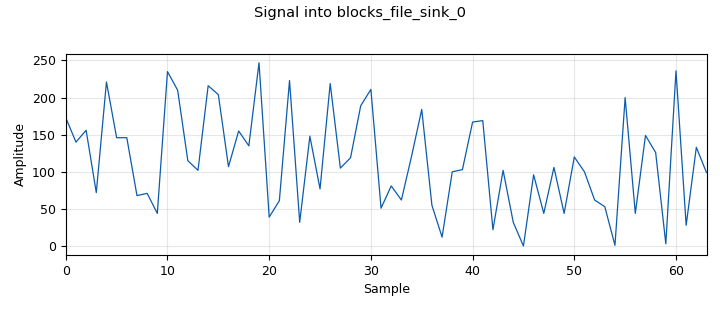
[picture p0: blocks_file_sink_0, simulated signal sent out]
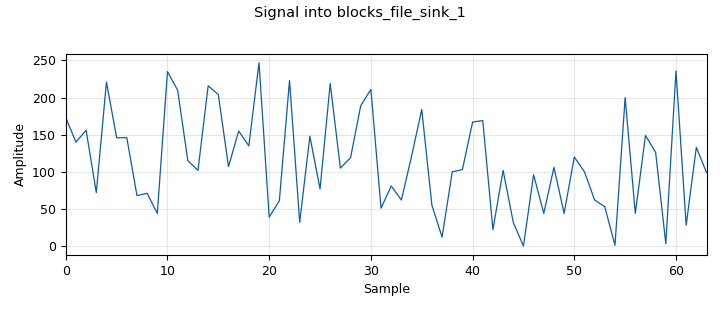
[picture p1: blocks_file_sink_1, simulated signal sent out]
options:
  parameters:
    generate_options: no_gui
    id: alpha_stable_generator
    output_language: python
    run_options: run
    title: Alpha stable simulation
  states: {}

blocks:
- name: alpha_map
  id: variable
  parameters:
    value: '[float(x) for x in alpha_map_str.split(",")]'
  states: {}
- name: beta_map
  id: variable
  parameters:
    value: '[float(x) for x in beta_map_str.split(",")]'
  states: {}
- name: gama_map
  id: variable
  parameters:
    value: '[float(x) for x in gama_map_str.split(",")]'
  states: {}
- name: samp_rate
  id: variable
  parameters:
    value: '32000'
  states: {}
- name: L
  id: parameter
  parameters:
    type: intx
    value: '2'
  states: {}
- name: alpha_map_str
  id: parameter
  parameters:
    type: str
    value: '"1.0"'
  states: {}
- name: analog_noise_source_x_0
  id: analog_noise_source_x
  parameters:
    amp: noise_ratio
    noise_type: analog.GR_GAUSSIAN
    seed: '0'
    type: float
  states: {}
- name: analog_random_source_x_0
  id: analog_random_source_x
  parameters:
    max: '255'
    min: '0'
    num_samps: source_number_of_samples
    repeat: 'False'
    type: byte
  states: {}
- name: beta_map_str
  id: parameter
  parameters:
    type: str
    value: '"-1.0,1.0"'
  states: {}
- name: blocks_add_xx_0
  id: blocks_add_xx
  parameters:
    type: float
  states: {}
- name: blocks_file_sink_0
  id: blocks_file_sink
  parameters:
    file: source_file
    type: byte
  states: {}
- name: blocks_file_sink_1
  id: blocks_file_sink
  parameters:
    file: decoded_file
    type: byte
  states: {}
- name: blocks_file_sink_2
  id: blocks_file_sink
  parameters:
    file: encoded_file
    type: float
  states: {}
- name: blocks_head_0
  id: blocks_head
  parameters:
    num_items: source_number_of_samples
    type: byte
  states: {}
- name: blocks_head_1
  id: blocks_head
  parameters:
    num_items: source_number_of_samples*8*samples_per_symbol
    type: float
  states: {}
- name: decoded_file
  id: parameter
  parameters:
    type: str
    value: r"C:\Users\ANEDCD~1\Desktop\3.letnik\Diploma\simulations\decoded.bin"
  states: {}
- name: encoded_file
  id: parameter
  parameters:
    type: str
    value: r"C:\Users\ANEDCD~1\Desktop\3.letnik\Diploma\simulations\encoded.bin"
  states: {}
- name: eos_timeout
  id: parameter
  parameters:
    label: EOS_timeout
    type: eng_float
    value: '3.0'
  states: {}
- name: epy_block_0
  id: epy_block
  parameters:
    _source_code: |-
      """
      GNU Radio Embedded Python Block: alpha_encoder

      Kodira vhodne bajte v serijo vzorcev alfa-stabilne porazdelitve.
      """

      import numpy as np
      from gnuradio import gr
      import sys
      import time  # fallback-only now, see comments below



      class alpha_encoder(gr.basic_block):
          """Kodira bajte v serijo vzorcev alfa-stabilne porazdelitve."""

          def __init__(
              self, 
              alpha_map=[1.2, 1.4, 1.6, 1.8], 
              beta_map=[-1.0, 1.0],
              gama_map=[1.0],
              samples_per_symbol=500,
              encode_alpha=False,
              encode_beta=True,
              encode_gama=False,
              eos_timeout=2.0,
              expected_input_bytes=None,
          ):
              gr.basic_block.__init__(
                  self,
                  name="alpha_encoder",
                  in_sig=[np.uint8],
                  out_sig=[np.float32],
              )

              self.alpha_map = list(alpha_map)
              self.beta_map = list(beta_map)
              self.gama_map = list(gama_map)
              self.samples_per_symbol = int(samples_per_symbol)
              self.encode_alpha = bool(encode_alpha)
              self.encode_beta = bool(encode_beta)
              self.encode_gama = bool(encode_gama)

              self._bit_buffer = [] #mogoče vržemo potem ven
              #ta buffer bo ostal ker ima ful smisla da ostane boj input če ga preberem morem prebrat cel byte, če ne shranim moji padatki izginejo to je najbolj simple način kako se tega rešiti

              self._eos_reached = False #zato da lahko se samo ustavi
              self._ever_received_input = False #če tega ni bi lahko scheduler klical general_work preden dobi karkoli in konča predčasno

              # Fallback-only timing state (kept in case expected_input_bytes is not provided)
              self.eos_timeout = float(eos_timeout)
              self._last_input_time = None

              # NEW: deterministic byte-count tracking (this is the real fix)
              self.expected_input_bytes = (
                  int(expected_input_bytes) if expected_input_bytes is not None else None
              )
              self._total_bytes_seen = 0  # running total of bytes consumed so far this run

              if self.samples_per_symbol <= 0:
                  raise ValueError("samples_per_symbol must be pozitive number")
              if self.encode_alpha and not self.is_power_of_two(len(self.alpha_map)):
                  raise ValueError("The size of alpha_map must be 2^n")
              if self.encode_beta and not self.is_power_of_two(len(self.beta_map)):
                  raise ValueError("The size of beta_map must be 2^n")
              if self.encode_gama and not self.is_power_of_two(len(self.gama_map)):
                  raise ValueError("The size of gama_map must be 2^n")

              self.bits_alpha = self.log2_za_potence2(len(self.alpha_map)) if self.encode_alpha else 0
              self.bits_beta  = self.log2_za_potence2(len(self.beta_map))  if self.encode_beta  else 0
              self.bits_gama  = self.log2_za_potence2(len(self.gama_map))  if self.encode_gama  else 0
              self.bits_per_symbol = self.bits_alpha + self.bits_beta + self.bits_gama # log(map_size) nam pove koliko bitov lahko predstavimo z vsakim parametrom, če to seštejemo imamo število bitov glede na semple

              if self.bits_per_symbol <= 0:
                  raise ValueError("At least one of encode_alpha, encode_beta, encode_gama nust be True")

          def forecast(self, noutput_items, ninputs):
              return [0] * int(ninputs)

          @staticmethod
          def is_power_of_two(x):
              return x > 0 and (x & (x - 1)) == 0

          @staticmethod
          def log2_za_potence2(x):
              if x == 0:
                  return 0
              if alpha_encoder.is_power_of_two(x):
                  vrednost = 0
                  while x > 1:
                      x >>= 1
                      vrednost += 1
                  return vrednost
              raise ValueError("One of the mups is not the size of 2^n (something went wrong, this mesage should not be reachable)")

          @staticmethod
          def alpha_stable(size, alpha=1.1, beta=0.0, gama=1.0): #default walues that should be the best, encoding
              v_values = np.random.uniform(-np.pi / 2, np.pi / 2, size)
              w_values = np.random.exponential(1, size)

              constant = beta * np.tan(np.pi * alpha / 2)
              shift = np.arctan(constant)
              scale = (1 + constant ** 2) ** (1 / (2 * alpha))

              samples = (
                  scale
                  * np.sin(alpha * v_values + shift)
                  / (np.cos(v_values)) ** (1 / alpha)
                  * (np.cos((1 - alpha) * v_values - shift) / w_values) ** ((1 - alpha) / alpha)
              )
              return gama * samples

          @staticmethod
          def _read_bits(bit_buffer, start, count):
              #Kadar enkodiram za en simbol morem vedet kolko bitov lahko ta simbol enkoda (count parameter)
              #pazi ker vrne niz kjer je prvi prebran bit least significant, torej obrne (načeloma je vseeno samo rabiš upoštevat pri kodiranju da daš tud obrnt mapo)
              value = 0
              for index in range(count):
                  value |= (bit_buffer[start + index] << index)
              return value

          #iz inputa preberi vse BYTE in vrni v bit_buffer 
          def _append_input_bits(self, input_bytes):
              for byte in input_bytes:
                  byte_value = int(byte)
                  for bit_index in range(8):
                      self._bit_buffer.append((byte_value >> bit_index) & 1) #dubi samo zadnji bit zato &1  uno pa premakne na pravo mesto binary shift ku v c++

          def _encode_one_symbol(self, bit_offset):
              alpha = 1.1
              beta = 0.0
              gama = self.gama_map[0]
              offset = bit_offset

              if self.encode_alpha:
                  alpha_index = self._read_bits(self._bit_buffer, offset, self.bits_alpha)
                  alpha = self.alpha_map[alpha_index]
                  offset += self.bits_alpha

              if self.encode_beta:
                  beta_index = self._read_bits(self._bit_buffer, offset, self.bits_beta)
                  beta = self.beta_map[beta_index]
                  offset += self.bits_beta

              if self.encode_gama:
                  gama_index = self._read_bits(self._bit_buffer, offset, self.bits_gama)
                  gama = self.gama_map[gama_index]
                  offset += self.bits_gama

              return alpha, beta, gama

          def general_work(self, input_items, output_items):
              input_bytes = input_items[0]
              output_samples = output_items[0]

              '''
              if not hasattr(self, '_dbg_call'):
                  self._dbg_call = 0
              self._dbg_call += 1 # da vem kolkokrat pokličem ta blok general_work
              c = self._dbg_call
              print(f"[ENC #{c}] id={id(self)} in={len(input_bytes)} out_buf={len(output_samples)} bit_buf={len(self._bit_buffer)} eos={self._eos_reached} ever={self._ever_received_input} seen={self._total_bytes_seen}/{self.expected_input_bytes}", file=sys.stderr, flush=True) 
              ''' #debuging

              if len(input_bytes) > 0:
                  self._ever_received_input = True
                  self._eos_reached = False
                  self._last_input_time = time.time()  # fallback bookkeeping only
                  self._total_bytes_seen += len(input_bytes)  # NEW: exact running count
                  self._append_input_bits(input_bytes) #direktno preberi dol iz inputa za delo naprej
                  self.consume(0, len(input_bytes)) # to je za GNU radio da mu povem kolko podatkov sem pobral dol z vhoda, v tem klicu general work ostaja input_samples enak stream se ne nadaljuje po tem ko sem v tem bloku to je pomembno ker drugače ne bi smel delati tako

                  if (
                      self.expected_input_bytes is not None
                      and self._total_bytes_seen >= self.expected_input_bytes
                  ):
                      self._eos_reached = True

              elif self._ever_received_input:
                  if (time.time() - self._last_input_time) >= self.eos_timeout:
                      self._eos_reached = True
              else:
                  # Če nikoli še nisem dubu podatkov samo loopi dokler jih ne dobim
                  return 0
              
              if self._eos_reached and 0 < len(self._bit_buffer) < self.bits_per_symbol:
                  # Zadnji delni simbol dopolnimo z ničlami, da ga še lahko zakodiramo, drugače lahko imamo v bit_bufferju ostanek če vhod ni deljiv z bits_per_symbol
                  self._bit_buffer.extend([0] * (self.bits_per_symbol - len(self._bit_buffer)))
              
              # Encode as many symbols as we can fit in the output buffer
              max_symbols = len(output_samples) // self.samples_per_symbol #buffer ima v GNU radio omejeno velikost za output smiselno sicer ampak jaz bi šopal rad podatke čez
              produced_symbols = 0
              bit_offset = 0

              while (
                  produced_symbols < max_symbols #če gremo čez bomo pisali v prazno in zgubili podatke, ne prekoračit bufferja
                  and len(self._bit_buffer) - bit_offset >= self.bits_per_symbol #v bit_bufferju rabim zadosti simbolov da encodam celotno 
              ):
                  alpha, beta, gama = self._encode_one_symbol(bit_offset)
                  samples = self.alpha_stable(
                      self.samples_per_symbol, alpha=alpha, beta=beta, gama=gama
                  ).astype(np.float32)

                  start = produced_symbols * self.samples_per_symbol
                  end = start + self.samples_per_symbol
                  output_samples[start:end] = samples

                  produced_symbols += 1
                  bit_offset += self.bits_per_symbol

              if bit_offset > 0:
                  self._bit_buffer = self._bit_buffer[bit_offset:] #zamakni seznam vrži stran vse kar sem že predelal

              #print(f"[ENC #{c}] produced={produced_symbols} samples={produced_symbols*self.samples_per_symbol} bit_buf_after={len(self._bit_buffer)}", file=sys.stderr, flush=True)

              if produced_symbols > 0:
                  return produced_symbols * self.samples_per_symbol

              if self._eos_reached and len(self._bit_buffer) < self.bits_per_symbol:
                  #print(f"[ENC #{c}] WORK_DONE", file=sys.stderr, flush=True)
                  return gr.WORK_DONE #to je GNU radio način da pove da je blok končal delo

              return 0
    alpha_map: alpha_map
    beta_map: beta_map
    encode_alpha: 'False'
    encode_beta: 'True'
    encode_gama: 'False'
    eos_timeout: eos_timeout
    expected_input_bytes: source_number_of_samples
    gama_map: gama_map
    samples_per_symbol: samples_per_symbol
  states: {}
- name: epy_block_1
  id: epy_block
  parameters:
    L: L
    _source_code: |-
      """
      GNU Radio Embedded Python Block: alpha_decoder

      Dekodira vzorce alfa-stabilne porazdelitve nazaj v bajte.
      """

      import numpy as np
      from gnuradio import gr
      import sys
      import time

      class alpha_decoder(gr.basic_block):
          """Dekodira vzorce alfa-stabilne porazdelitve v bajte."""

          def __init__(
              self,
              alpha_map=[1.2, 1.4, 1.6, 1.8],
              beta_map=[-1.0, 1.0],
              gama_map=[1.0],
              samples_per_symbol=500,
              L=10,
              encode_alpha=False,
              encode_beta=True,
              encode_gama=False,
              eos_timeout=3.0,
              expected_input_samples=None,
          ):
              gr.basic_block.__init__(
                  self,
                  name="alpha_decoder",
                  in_sig=[np.float32],
                  out_sig=[np.uint8],
              )

              self.alpha_map = list(alpha_map)
              self.beta_map = list(beta_map)
              self.gama_map = list(gama_map)
              self.samples_per_symbol = int(samples_per_symbol)
              self.L = int(L)
              self.encode_alpha = bool(encode_alpha)
              self.encode_beta = bool(encode_beta)
              self.encode_gama = bool(encode_gama)

              self._sample_buffer = np.empty(0, dtype=np.float32)
              self._decoded_bit_buffer = []
              self._eos_reached = False
              self._ever_received_input = False #potrebno da vem kdaj startam stevec oziroma da ne konča predn dobi delo

              # Fallback-only timing state
              self.eos_timeout = float(eos_timeout)
              self._last_input_time = None

              # NEW: deterministic sample-count tracking (this is the real fix)
              self.expected_input_samples = (
                  int(expected_input_samples) if expected_input_samples is not None else None
              )
              self._total_samples_seen = 0  # running total of input samples consumed this run

              if self.samples_per_symbol <= 0:
                  raise ValueError("samples_per_symbol must be pozitive number")
              if self.L <= 0:
                  raise ValueError("L must be pozitive number")
              if self.samples_per_symbol % self.L != 0:
                  raise ValueError("samples_per_symbol must be devisible by L")

              if self.encode_alpha and not self.is_power_of_two(len(self.alpha_map)):
                  raise ValueError("Size of alpha_map bust be 2^n")
              if self.encode_beta and not self.is_power_of_two(len(self.beta_map)):
                  raise ValueError("Size of beta_map bust be 2^n")
              if self.encode_gama and not self.is_power_of_two(len(self.gama_map)):
                  raise ValueError("Size of gama_map bust be 2^n")

              self.bits_alpha = self.log2_za_potence2(len(self.alpha_map)) if self.encode_alpha else 0
              self.bits_beta  = self.log2_za_potence2(len(self.beta_map))  if self.encode_beta  else 0
              self.bits_gama  = self.log2_za_potence2(len(self.gama_map))  if self.encode_gama  else 0
              self.bits_per_symbol = self.bits_alpha + self.bits_beta + self.bits_gama

              if self.bits_per_symbol <= 0:
                  raise ValueError("At least one encode alpha, beta or gama must be True")

              if self.encode_alpha or self.encode_gama:
                  raise ValueError(
                      "Dekoder supports only encode_beta=True, encode_alpha=False, encode_gama=False now"
                  )

          def forecast(self, noutput_items, ninputs):
              return [0] * int(ninputs)

          @staticmethod
          def is_power_of_two(x):
              return x > 0 and (x & (x - 1)) == 0

          @staticmethod
          def log2_za_potence2(x):
              if x == 0:
                  return 0
              if alpha_decoder.is_power_of_two(x):
                  vrednost = 0
                  while x > 1:
                      x >>= 1
                      vrednost += 1
                  return vrednost
              raise ValueError("Ena od map ni velikosti 2^n")

          #najbližji indeks po naši metodi
          @staticmethod
          def closest_index(value, values):
              arr = np.array(values, dtype=float)
              if arr.size == 1:
                  return 0
              return int(np.argmin(np.abs(arr - value)))

          def estimate_beta(self, symbol_samples):
              samples_per_segment = self.samples_per_symbol // self.L
              if samples_per_segment <= 0:
                  return 0.0

              symbol_array = np.asarray(symbol_samples, dtype=np.float64)
              segments = symbol_array[: samples_per_segment * self.L].reshape(
                  self.L, samples_per_segment
              )

              maximums = np.max(segments, axis=1)
              minimum_magnitudes = -np.min(segments, axis=1)
              valid = (
                  np.isfinite(maximums)
                  & np.isfinite(minimum_magnitudes)
                  & (maximums > 0.0)
                  & (minimum_magnitudes > 0.0)
              )
              if np.count_nonzero(valid) < 2:
                  return 0.0

              y_max = np.log(maximums[valid])
              y_min = np.log(minimum_magnitudes[valid])
              mean_max = float(np.mean(y_max))
              mean_min = float(np.mean(y_min))
              std_max = float(np.std(y_max, ddof=1))
              std_min = float(np.std(y_min, ddof=1))
              if (
                  not np.all(np.isfinite([mean_max, mean_min, std_max, std_min]))
                  or std_max <= 1e-12
                  or std_min <= 1e-12
              ):
                  return 0.0

              alpha_hat = np.pi / (2.0 * np.sqrt(6.0)) * (
                  1.0 / std_max + 1.0 / std_min
              )
              log_tail_ratio = alpha_hat * (mean_max - mean_min)
              beta_hat = np.tanh(0.5 * log_tail_ratio)
              return float(np.clip(beta_hat, -1.0, 1.0))

          def _append_input_samples(self, input_samples):
              if input_samples.size:
                  self._sample_buffer = np.concatenate(
                      (self._sample_buffer, input_samples.astype(np.float32, copy=False))
                  )

          def _flush_bits_to_output(self, out, out_index):
              available_bytes = len(self._decoded_bit_buffer) // 8
              bytes_to_write = min(len(out) - out_index, available_bytes) #znova da ne prepišemo slučajno out bufferja 

              for byte_index in range(bytes_to_write):
                  base = byte_index * 8
                  byte_value = 0
                  for bit_index in range(8):
                      byte_value |= (self._decoded_bit_buffer[base + bit_index] & 0x1) << bit_index
                  out[out_index + byte_index] = byte_value

              if bytes_to_write > 0:
                  self._decoded_bit_buffer = self._decoded_bit_buffer[bytes_to_write * 8:]

              return bytes_to_write

          def general_work(self, input_items, output_items):
              in_samples = input_items[0]
              out = output_items[0]
              '''
              if not hasattr(self, '_dbg_call'):
                  self._dbg_call = 0
              self._dbg_call += 1
              c = self._dbg_call
              '''
              if len(out) == 0:
                  return 0

              #print(f"[DEC #{c}] id={id(self)} in={len(in_samples)} out_buf={len(out)} sample_buf={len(self._sample_buffer)} bit_buf={len(self._decoded_bit_buffer)} eos={self._eos_reached} ever={self._ever_received_input} seen={self._total_samples_seen}/{self.expected_input_samples}", file=sys.stderr, flush=True)
              #isto kot v alpha_encoder rabimo nek način da ne končamo prehitro
              if len(in_samples) > 0:
                  self._ever_received_input = True
                  self._eos_reached = False
                  self._last_input_time = time.time()  # fallback bookkeeping only
                  self._total_samples_seen += len(in_samples)  # NEW: exact running count
                  self._append_input_samples(in_samples)
                  self.consume(0, len(in_samples))

                  if (
                      self.expected_input_samples is not None
                      and self._total_samples_seen >= self.expected_input_samples
                  ):
                      self._eos_reached = True

              elif self._ever_received_input:
                  if (time.time() - self._last_input_time) >= self.eos_timeout:
                      self._eos_reached = True
              else:
                  # Če ni še nič podatkov prišlo
                  return 0

              out_index = 0
              beta_mask = (1 << self.bits_beta) - 1 if self.bits_beta > 0 else 0 #safety net bolj kot kaj drugega pomojem ne rabim samo tko za sigurn

              # Vrži vn kar smo že dekodali
              out_index += self._flush_bits_to_output(out, out_index)
              #če stem zapolneš že cel out_index moreš končati saj len(out) ne smemo prekoračiti ka zgubiš podatke ker prepišeš čez buffer
              if out_index == len(out):
                  return out_index

              # Dekodiramo novo
              available_symbols = len(self._sample_buffer) // self.samples_per_symbol

              for symbol_index in range(available_symbols):
                  symbol_start = symbol_index * self.samples_per_symbol
                  symbol_end = symbol_start + self.samples_per_symbol
                  symbol_samples = self._sample_buffer[symbol_start:symbol_end]

                  estimated_beta = self.estimate_beta(symbol_samples)
                  beta_idx = (
                      self.closest_index(estimated_beta, self.beta_map) & beta_mask
                      if self.bits_beta > 0 #ta if je odveč se strinjam je tle samo zaradi logike če implementiram alpha + je dober dodaten check
                      else 0
                  )

                  for _ in range(self.bits_alpha):
                      self._decoded_bit_buffer.append(0)
                  for bit_index in range(self.bits_beta):
                      self._decoded_bit_buffer.append((beta_idx >> bit_index) & 0x1)
                  for _ in range(self.bits_gama):
                      self._decoded_bit_buffer.append(0)

              # Zbriši kar smo poslali oziroma sprocesirali
              consumed_samples = available_symbols * self.samples_per_symbol
              self._sample_buffer = self._sample_buffer[consumed_samples:]

              # Izpiši na output sprocesirano
              out_index += self._flush_bits_to_output(out, out_index)

              if out_index > 0:
                  return out_index

              if self._eos_reached:
                  samples_remain = len(self._sample_buffer) >= self.samples_per_symbol
                  #print(f"[DEC #{c}] eos confirmed, samples_remain={samples_remain} bit_buf={len(self._decoded_bit_buffer)}", file=sys.stderr, flush=True)
                  bits_remain = len(self._decoded_bit_buffer) >= 8
                  if not samples_remain and not bits_remain:
                      return gr.WORK_DONE

              return 0
    alpha_map: alpha_map
    beta_map: beta_map
    encode_alpha: 'False'
    encode_beta: 'True'
    encode_gama: 'False'
    eos_timeout: eos_timeout
    expected_input_samples: source_number_of_samples*8*samples_per_symbol
    gama_map: gama_map
    samples_per_symbol: samples_per_symbol
  states: {}
- name: gama_map_str
  id: parameter
  parameters:
    type: str
    value: '"1.0"'
  states: {}
- name: noise_ratio
  id: parameter
  parameters:
    type: eng_float
    value: '5'
  states: {}
- name: noise_source_type
  id: parameter
  parameters:
    label: tip
    value: analog.GR_GAUSSIAN
  states: {}
- name: qtgui_sink_x_0
  id: qtgui_sink_x
  parameters:
    bw: samp_rate
    fc: '0'
    fftsize: '1024'
    name: '"Encoded wave"'
    type: float
  states: {state: disabled}
- name: samples_per_symbol
  id: parameter
  parameters:
    type: intx
    value: '1000'
  states: {}
- name: source_file
  id: parameter
  parameters:
    type: str
    value: r"C:\Users\ANEDCD~1\Desktop\3.letnik\Diploma\simulations\source.bin"
  states: {}
- name: source_number_of_samples
  id: parameter
  parameters:
    type: intx
    value: '128'
  states: {}

connections:
- [analog_noise_source_x_0, '0', blocks_head_1, '0']
- [analog_random_source_x_0, '0', blocks_head_0, '0']
- [blocks_add_xx_0, '0', epy_block_1, '0']
- [blocks_head_0, '0', blocks_file_sink_0, '0']
- [blocks_head_0, '0', epy_block_0, '0']
- [blocks_head_1, '0', blocks_add_xx_0, '1']
- [epy_block_0, '0', blocks_add_xx_0, '0']
- [epy_block_0, '0', blocks_file_sink_2, '0']
- [epy_block_0, '0', qtgui_sink_x_0, '0']
- [epy_block_1, '0', blocks_file_sink_1, '0']

metadata:
  file_format: 1
  grc_version: 3.10.12.0
